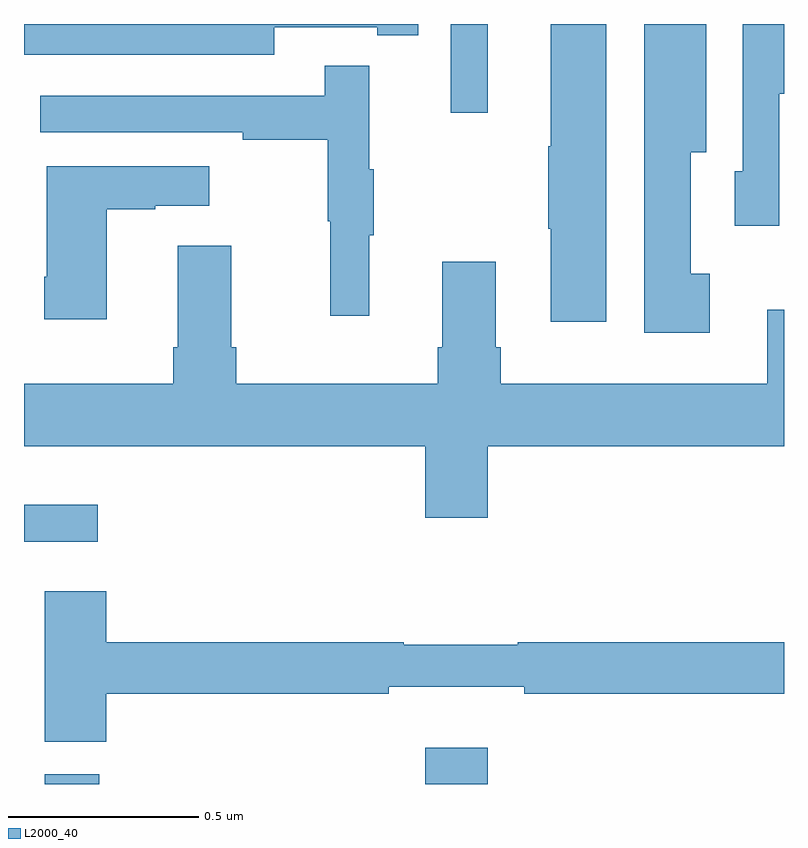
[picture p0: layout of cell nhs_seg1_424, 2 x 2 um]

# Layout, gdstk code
import gdstk
lib = gdstk.Library(unit=1e-6, precision=1e-09)
def R(c, l, rs):  # rectangles x0, y0, x1, y1
    for r in rs: c.add(gdstk.rectangle(r[:2], r[2:], *l))
def P(c, l, *ps):  # polygons
    for p in ps: c.add(gdstk.Polygon(p, *l))
L2000_40 = (2000, 40)

nhs_seg1_424 = lib.new_cell('nhs_seg1_424')
R(nhs_seg1_424, L2000_40, [(116.054,528.199,116.198,528.225), (117.056,528.199,117.22,528.295), (116,528.836,116.194,528.934), (117.123,529.965,117.22,530.199)])
P(nhs_seg1_424, L2000_40, [(116.658,530.19),(116.93,530.19),(116.93,530.17),(117.038,530.17),(117.038,530.199),(116,530.199),(116,530.118),(116.658,530.118)],
  [(117.987,530.015),(118,530.015),(118,530.199),(117.891,530.199),(117.891,529.812),(117.87,529.812),(117.87,529.668),(117.987,529.668)],
  [(117.805,529.542),(117.754,529.542),(117.754,529.862),(117.796,529.862),(117.796,530.199),(117.632,530.199),(117.632,529.386),(117.805,529.386)],
  [(117.532,530.199),(117.386,530.199),(117.386,529.877),(117.379,529.877),(117.379,529.66),(117.386,529.66),(117.386,529.416),(117.532,529.416)],
  [(116.909,529.643),(116.92,529.643),(116.92,529.817),(116.909,529.817),(116.909,530.089),(116.791,530.089),(116.791,530.01),(116.043,530.01),(116.043,529.914),(116.575,529.914),(116.575,529.894),(116.799,529.894),(116.799,529.68),(116.806,529.68),(116.806,529.431),(116.909,529.431)],
  [(116.218,529.711),(116.345,529.711),(116.345,529.721),(116.488,529.721),(116.488,529.825),(116.06,529.825),(116.06,529.534),(116.053,529.534),(116.053,529.422),(116.218,529.422)],
  [(117.22,529.088),(118,529.088),(118,529.447),(117.956,529.447),(117.956,529.252),(117.254,529.252),(117.254,529.348),(117.241,529.348),(117.241,529.573),(117.101,529.573),(117.101,529.348),(117.089,529.348),(117.089,529.252),(116.558,529.252),(116.558,529.348),(116.545,529.348),(116.545,529.615),(116.405,529.615),(116.405,529.348),(116.393,529.348),(116.393,529.252),(116,529.252),(116,529.088),(117.056,529.088),(117.056,528.9),(117.22,528.9)],
  [(116.216,528.436),(116.96,528.436),(116.96,528.455),(117.316,528.455),(117.316,528.436),(118,528.436),(118,528.572),(117.299,528.572),(117.299,528.565),(116.999,528.565),(116.999,528.572),(116.216,528.572),(116.216,528.706),(116.055,528.706),(116.055,528.593),(116.054,528.593),(116.054,528.31),(116.216,528.31)])

lib.write_gds('nhs_seg1_424.gds')
